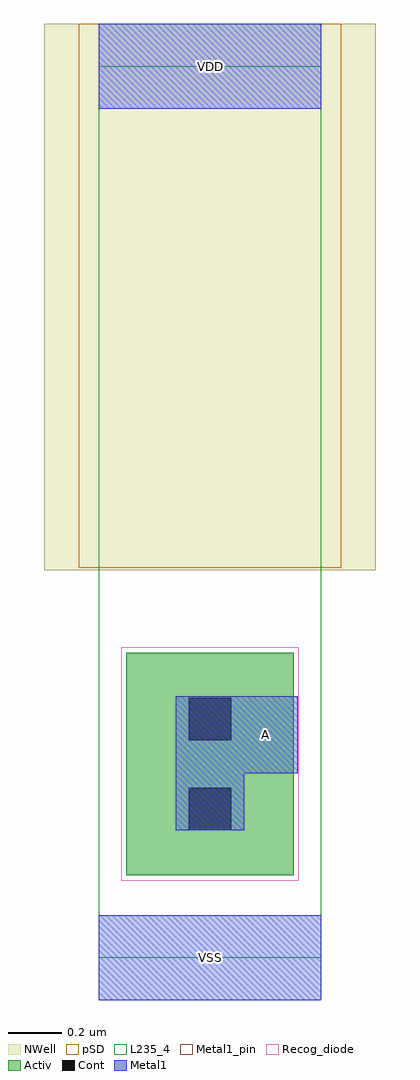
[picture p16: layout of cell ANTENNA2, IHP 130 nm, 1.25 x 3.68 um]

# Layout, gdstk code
import gdstk
lib = gdstk.Library(unit=1e-6, precision=1e-09)
def R(c, l, rs):  # rectangles x0, y0, x1, y1
    for r in rs: c.add(gdstk.rectangle(r[:2], r[2:], *l))
Activ = (1, 0)
Cont = (6, 0)
Metal1 = (8, 0)
Metal1_pin = (8, 2)
pSD = (14, 0)
NWell = (31, 0)
Recog_diode = (99, 31)
L235_4 = (235, 4)

dantenna_cdns_7643412319 = lib.new_cell('dantenna_CDNS_764341231940')
R(dantenna_cdns_7643412319, Activ, [(0,0,0.63,0.84)])
R(dantenna_cdns_7643412319, Cont, [(0.235,0.17,0.395,0.33), (0.235,0.51,0.395,0.67)])
R(dantenna_cdns_7643412319, Metal1, [(0.185,0.17,0.445,0.67)])
R(dantenna_cdns_7643412319, Metal1_pin, [(0.185,0.17,0.445,0.67)])
R(dantenna_cdns_7643412319, Recog_diode, [(-0.02,-0.02,0.65,0.86)])
dantenna_cdns_7643412319.add(gdstk.Label('dant', (0.315,0.42), layer=63, texttype=0))

antenna2 = lib.new_cell('ANTENNA2')
R(antenna2, Metal1, [(0,-0.16,0.84,0.16), (0.29,0.695,0.75,0.985), (0,3.2,0.84,3.52)])
R(antenna2, Metal1_pin, [(0,-0.16,0.84,0.16), (0.29,0.695,0.75,0.985), (0,3.2,0.84,3.52)])
R(antenna2, pSD, [(-0.075,1.47,0.915,3.52)])
R(antenna2, NWell, [(-0.205,1.46,1.045,3.52)])
R(antenna2, L235_4, [(0,0,0.84,3.36)])
antenna2.add(gdstk.Reference(dantenna_cdns_7643412319, (0.105,0.31)))
antenna2.add(gdstk.Label('A', (0.63,0.84), layer=8, texttype=25))
antenna2.add(gdstk.Label('VSS', (0.42,0), layer=8, texttype=25))
antenna2.add(gdstk.Label('VDD', (0.42,3.36), layer=8, texttype=25))

lib.write_gds('ANTENNA2.gds')
